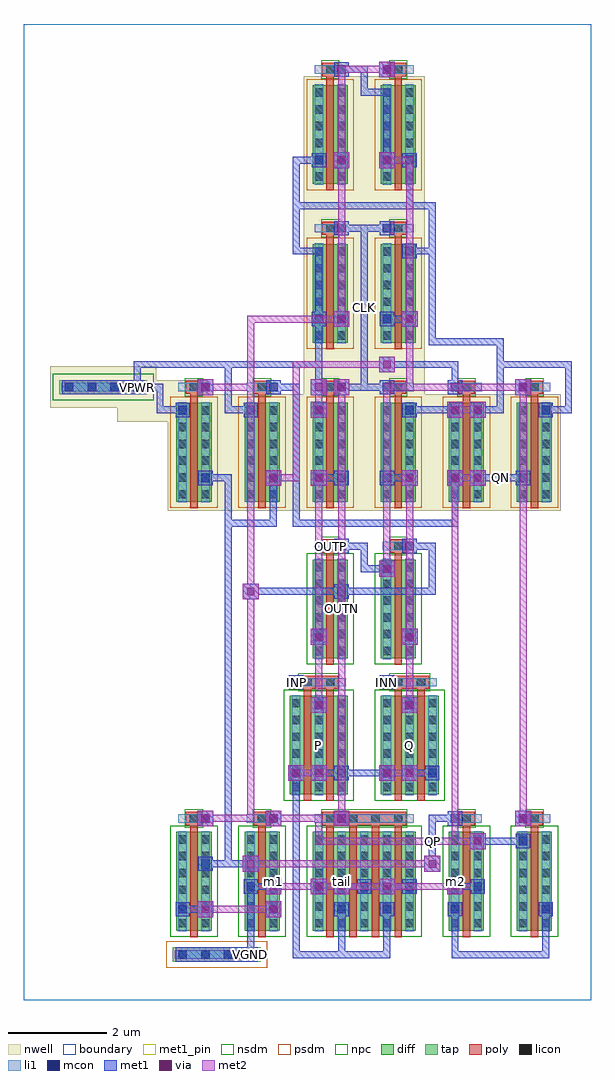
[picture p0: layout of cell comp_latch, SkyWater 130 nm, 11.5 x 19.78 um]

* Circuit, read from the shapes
.subckt comp_latch CLK INN INP OUTN OUTP P Q QN QP VGND VPWR m1 m2 tail
XM1 QP OUTN m1 VGND sky130_fd_pr__nfet_01v8 w=2 l=0.15
XM2 m1 QN VGND VGND sky130_fd_pr__nfet_01v8 w=2 l=0.15
XM3 P INP tail VGND sky130_fd_pr__nfet_01v8 w=2 l=0.15 m=2
XM4 tail CLK VGND VGND sky130_fd_pr__nfet_01v8 w=2 l=0.15 m=4
XM5 OUTN OUTP P VGND sky130_fd_pr__nfet_01v8 w=2 l=0.15
XM6 Q INN tail VGND sky130_fd_pr__nfet_01v8 w=2 l=0.15 m=2
XM7 Q OUTN OUTP VGND sky130_fd_pr__nfet_01v8 w=2 l=0.15
XM8 VGND QP m2 VGND sky130_fd_pr__nfet_01v8 w=2 l=0.15
XM9 m2 OUTP QN VGND sky130_fd_pr__nfet_01v8 w=2 l=0.15
XM10 QP OUTN VPWR VPWR sky130_fd_pr__pfet_01v8 w=2 l=0.15
XM11 QP QN VPWR VPWR sky130_fd_pr__pfet_01v8 w=2 l=0.15
XM12 P CLK VPWR VPWR sky130_fd_pr__pfet_01v8 w=2 l=0.15
XM13 OUTN CLK VPWR VPWR sky130_fd_pr__pfet_01v8 w=2 l=0.15
XM14 OUTN OUTP VPWR VPWR sky130_fd_pr__pfet_01v8 w=2 l=0.15
XM15 VPWR CLK Q VPWR sky130_fd_pr__pfet_01v8 w=2 l=0.15
XM16 VPWR CLK OUTP VPWR sky130_fd_pr__pfet_01v8 w=2 l=0.15
XM17 VPWR OUTN OUTP VPWR sky130_fd_pr__pfet_01v8 w=2 l=0.15
XM18 VPWR QP QN VPWR sky130_fd_pr__pfet_01v8 w=2 l=0.15
XM19 VPWR OUTP QN VPWR sky130_fd_pr__pfet_01v8 w=2 l=0.15
.ends

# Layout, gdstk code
import gdstk
lib = gdstk.Library(unit=1e-6, precision=1e-09)
def R(c, l, rs):  # rectangles x0, y0, x1, y1
    for r in rs: c.add(gdstk.rectangle(r[:2], r[2:], *l))
def A(c, l, x, y, w, h, nx, ny, dx, dy):  # array of equal rectangles
    R(c, l, [(x+i*dx, y+j*dy, x+i*dx+w, y+j*dy+h) for i in range(nx) for j in range(ny)])
nwell = (64, 20)
diff = (65, 20)
tap = (65, 44)
poly = (66, 20)
licon = (66, 44)
li1 = (67, 20)
mcon = (67, 44)
met1_pin = (68, 16)
met1 = (68, 20)
via = (68, 44)
met2 = (69, 20)
nsdm = (93, 44)
psdm = (94, 20)
npc = (95, 20)
boundary = (235, 4)

comp_latch = lib.new_cell('comp_latch')
R(comp_latch, nwell, [(2.915,9.92,10.885,11.72), (1.893,11.72,10.885,12), (0.535,12,10.885,12.28), (0.535,12.28,3.707,12.56), (5.675,12.28,8.125,18.72), (0.535,12.56,2.685,12.84)])
A(comp_latch, diff, 3.095, 10.1, 0.71, 2, 6, 1, 1.38, 0)
R(comp_latch, diff, [(3.095,1.405,3.805,3.405), (4.475,1.405,5.185,3.405), (5.855,1.405,7.945,3.405), (8.615,1.405,9.325,3.405), (9.995,1.405,10.705,3.405), (5.395,4.165,6.565,6.165), (7.235,4.165,8.405,6.165), (5.855,6.925,6.565,8.925), (7.235,6.925,7.945,8.925), (5.855,13.32,6.565,15.32), (7.235,13.32,7.945,15.32), (5.855,16.54,6.565,18.54), (7.235,16.54,7.945,18.54)])
R(comp_latch, tap, [(3.015,0.775,4.805,1.065), (0.715,12.275,2.505,12.565)])
A(comp_latch, poly, 3.375, 1.275, 0.15, 2.405, 3, 1, 1.38, 0)
A(comp_latch, poly, 6.595, 1.275, 0.15, 2.405, 3, 1, 0.46, 0)
A(comp_latch, poly, 3.375, 9.97, 0.15, 2.45, 6, 1, 1.38, 0)
A(comp_latch, poly, 3.285, 12.285, 0.33, 0.27, 6, 1, 1.38, 0)
R(comp_latch, poly, [(8.895,1.275,9.045,3.68), (10.275,1.275,10.425,3.68), (3.285,3.545,3.615,3.815), (4.665,3.545,4.995,3.815), (6.045,3.545,7.755,3.815), (8.805,3.545,9.135,3.815), (10.185,3.545,10.515,3.815), (5.675,4.035,5.825,6.44), (6.135,4.035,6.285,6.44), (7.515,4.035,7.665,6.44), (7.975,4.035,8.125,6.44), (5.585,6.305,6.375,6.575), (7.425,6.305,8.215,6.575), (6.135,6.795,6.285,9.2), (7.515,6.795,7.665,9.2), (6.045,9.065,6.375,9.335), (7.425,9.065,7.755,9.335), (6.135,13.19,6.285,15.64), (7.515,13.19,7.665,15.64), (6.045,15.505,6.375,15.775), (7.425,15.505,7.755,15.775), (6.135,16.41,6.285,18.86), (7.515,16.41,7.665,18.86), (6.045,18.725,6.375,18.995), (7.425,18.725,7.755,18.995)])
A(comp_latch, licon, 3.135, 0.835, 0.17, 0.17, 4, 1, 0.46, 0)
A(comp_latch, licon, 3.135, 1.47, 0.17, 0.17, 1, 6, 0, 0.34)
A(comp_latch, licon, 3.595, 1.47, 0.17, 0.17, 1, 6, 0, 0.34)
A(comp_latch, licon, 4.515, 1.47, 0.17, 0.17, 1, 6, 0, 0.34)
A(comp_latch, licon, 4.975, 1.47, 0.17, 0.17, 1, 6, 0, 0.34)
A(comp_latch, licon, 5.895, 1.47, 0.17, 0.17, 5, 6, 0.46, 0.34)
A(comp_latch, licon, 8.655, 1.47, 0.17, 0.17, 1, 6, 0, 0.34)
A(comp_latch, licon, 9.115, 1.47, 0.17, 0.17, 1, 6, 0, 0.34)
A(comp_latch, licon, 10.035, 1.47, 0.17, 0.17, 1, 6, 0, 0.34)
A(comp_latch, licon, 10.495, 1.47, 0.17, 0.17, 1, 6, 0, 0.34)
A(comp_latch, licon, 3.365, 3.595, 0.17, 0.17, 3, 1, 1.38, 0)
A(comp_latch, licon, 6.585, 3.595, 0.17, 0.17, 3, 1, 0.46, 0)
A(comp_latch, licon, 5.435, 4.23, 0.17, 0.17, 3, 6, 0.46, 0.34)
A(comp_latch, licon, 7.275, 4.23, 0.17, 0.17, 3, 6, 0.46, 0.34)
A(comp_latch, licon, 5.895, 6.99, 0.17, 0.17, 1, 6, 0, 0.34)
A(comp_latch, licon, 6.355, 6.99, 0.17, 0.17, 1, 6, 0, 0.34)
A(comp_latch, licon, 7.275, 6.99, 0.17, 0.17, 1, 6, 0, 0.34)
A(comp_latch, licon, 7.735, 6.99, 0.17, 0.17, 1, 6, 0, 0.34)
A(comp_latch, licon, 3.135, 10.165, 0.17, 0.17, 1, 6, 0, 0.34)
A(comp_latch, licon, 3.595, 10.165, 0.17, 0.17, 1, 6, 0, 0.34)
A(comp_latch, licon, 4.515, 10.165, 0.17, 0.17, 1, 6, 0, 0.34)
A(comp_latch, licon, 4.975, 10.165, 0.17, 0.17, 1, 6, 0, 0.34)
A(comp_latch, licon, 5.895, 10.165, 0.17, 0.17, 1, 6, 0, 0.34)
A(comp_latch, licon, 6.355, 10.165, 0.17, 0.17, 1, 6, 0, 0.34)
A(comp_latch, licon, 7.275, 10.165, 0.17, 0.17, 1, 6, 0, 0.34)
A(comp_latch, licon, 7.735, 10.165, 0.17, 0.17, 1, 6, 0, 0.34)
A(comp_latch, licon, 8.655, 10.165, 0.17, 0.17, 1, 6, 0, 0.34)
A(comp_latch, licon, 9.115, 10.165, 0.17, 0.17, 1, 6, 0, 0.34)
A(comp_latch, licon, 10.035, 10.165, 0.17, 0.17, 1, 6, 0, 0.34)
A(comp_latch, licon, 10.495, 10.165, 0.17, 0.17, 1, 6, 0, 0.34)
A(comp_latch, licon, 0.835, 12.335, 0.17, 0.17, 4, 1, 0.46, 0)
A(comp_latch, licon, 3.365, 12.335, 0.17, 0.17, 6, 1, 1.38, 0)
A(comp_latch, licon, 5.895, 13.385, 0.17, 0.17, 1, 6, 0, 0.34)
A(comp_latch, licon, 6.355, 13.385, 0.17, 0.17, 1, 6, 0, 0.34)
A(comp_latch, licon, 7.275, 13.385, 0.17, 0.17, 1, 6, 0, 0.34)
A(comp_latch, licon, 7.735, 13.385, 0.17, 0.17, 1, 6, 0, 0.34)
A(comp_latch, licon, 5.895, 16.605, 0.17, 0.17, 1, 6, 0, 0.34)
A(comp_latch, licon, 6.355, 16.605, 0.17, 0.17, 1, 6, 0, 0.34)
A(comp_latch, licon, 7.275, 16.605, 0.17, 0.17, 1, 6, 0, 0.34)
A(comp_latch, licon, 7.735, 16.605, 0.17, 0.17, 1, 6, 0, 0.34)
R(comp_latch, licon, [(8.885,3.595,9.055,3.765), (10.265,3.595,10.435,3.765), (5.665,6.355,5.835,6.525), (6.125,6.355,6.295,6.525), (7.505,6.355,7.675,6.525), (7.965,6.355,8.135,6.525), (6.125,9.115,6.295,9.285), (7.505,9.115,7.675,9.285), (6.125,15.555,6.295,15.725), (7.505,15.555,7.675,15.725), (6.125,18.775,6.295,18.945), (7.505,18.775,7.675,18.945)])
A(comp_latch, li1, 5.895, 1.39, 0.17, 2.03, 5, 1, 0.46, 0)
A(comp_latch, li1, 5.435, 4.15, 0.17, 2.03, 3, 1, 0.46, 0)
A(comp_latch, li1, 7.275, 4.15, 0.17, 2.03, 3, 1, 0.46, 0)
A(comp_latch, li1, 5.895, 10.085, 0.17, 2.03, 1, 3, 0, 3.22)
A(comp_latch, li1, 6.355, 10.085, 0.17, 2.03, 1, 3, 0, 3.22)
A(comp_latch, li1, 7.275, 10.085, 0.17, 2.03, 1, 3, 0, 3.22)
A(comp_latch, li1, 7.735, 10.085, 0.17, 2.03, 1, 3, 0, 3.22)
A(comp_latch, li1, 3.135, 12.335, 0.63, 0.17, 6, 1, 1.38, 0)
R(comp_latch, li1, [(3.055,0.835,4.765,1.005), (3.135,1.39,3.305,3.42), (3.595,1.39,3.765,3.42), (4.515,1.39,4.685,3.42), (4.975,1.39,5.145,3.42), (8.655,1.39,8.825,3.42), (9.115,1.39,9.285,3.42), (10.035,1.39,10.205,3.42), (10.495,1.39,10.665,3.42), (3.135,3.595,3.765,3.765), (4.515,3.595,5.145,3.765), (5.895,3.595,7.905,3.765), (8.655,3.595,9.285,3.765), (10.035,3.595,10.665,3.765), (5.435,6.355,6.525,6.525), (7.275,6.355,8.365,6.525), (5.895,6.91,6.065,8.94), (6.355,6.91,6.525,8.94), (7.275,6.91,7.445,8.94), (7.735,6.91,7.905,8.94), (5.895,9.115,6.525,9.285), (7.275,9.115,7.905,9.285), (3.135,10.085,3.305,12.115), (3.595,10.085,3.765,12.115), (4.515,10.085,4.685,12.115), (4.975,10.085,5.145,12.115), (8.655,10.085,8.825,12.115), (9.115,10.085,9.285,12.115), (10.035,10.085,10.205,12.115), (10.495,10.085,10.665,12.115), (0.755,12.335,2.465,12.505), (5.895,15.555,6.525,15.725), (7.275,15.555,7.905,15.725), (5.895,18.775,6.525,18.945), (7.275,18.775,7.905,18.945)])
A(comp_latch, mcon, 3.135, 0.835, 0.17, 0.17, 4, 1, 0.46, 0)
A(comp_latch, mcon, 5.895, 2.215, 0.17, 0.17, 3, 1, 0.92, 0)
A(comp_latch, mcon, 3.595, 3.595, 0.17, 0.17, 3, 2, 1.38, 6.9)
A(comp_latch, mcon, 5.435, 4.515, 0.17, 0.17, 4, 1, 0.92, 0)
A(comp_latch, mcon, 7.275, 10.495, 0.17, 0.17, 3, 2, 1.38, 1.84)
A(comp_latch, mcon, 3.135, 11.875, 0.17, 0.17, 3, 1, 1.38, 0)
A(comp_latch, mcon, 7.735, 11.875, 0.17, 0.17, 3, 1, 1.38, 0)
A(comp_latch, mcon, 0.835, 12.335, 0.17, 0.17, 4, 1, 0.46, 0)
A(comp_latch, mcon, 3.595, 12.335, 0.17, 0.17, 3, 1, 1.38, 0)
R(comp_latch, mcon, [(3.135,1.755,3.305,1.925), (4.975,1.755,5.145,1.925), (6.355,1.755,6.525,1.925), (7.275,1.755,7.445,1.925), (8.655,1.755,8.825,1.925), (10.495,1.755,10.665,1.925), (4.515,2.215,4.685,2.385), (9.115,2.215,9.285,2.385), (3.595,2.675,3.765,2.845), (10.035,3.135,10.205,3.305), (8.655,3.595,8.825,3.765), (10.035,3.595,10.205,3.765), (5.895,5.895,6.065,6.065), (7.735,5.895,7.905,6.065), (5.435,6.355,5.605,6.525), (7.275,6.355,7.445,6.525), (5.895,7.275,6.065,7.445), (7.735,7.275,7.905,7.445), (6.355,8.195,6.525,8.365), (7.275,8.655,7.445,8.825), (6.355,9.115,6.525,9.285), (7.735,9.115,7.905,9.285), (5.895,13.715,6.065,13.885), (6.355,13.715,6.525,13.885), (7.275,13.715,7.445,13.885), (7.735,15.095,7.905,15.265), (6.355,15.555,6.525,15.725), (7.275,15.555,7.445,15.725), (5.895,16.935,6.065,17.105), (6.355,16.935,6.525,17.105), (7.275,16.935,7.445,17.105), (7.735,16.935,7.905,17.105), (6.355,18.775,6.525,18.945), (7.275,18.775,7.445,18.945)])
R(comp_latch, met1_pin, [(4.53,0.85,4.67,0.99), (8.21,2.69,8.35,3.75), (5.375,6.295,5.665,6.585), (7.215,6.295,7.505,6.585), (9.13,10.51,10.19,10.65), (2.23,12.35,2.37,12.49), (6.83,12.35,6.97,15.71)])
A(comp_latch, met1, 5.835, 2.155, 0.29, 0.29, 3, 1, 0.92, 0)
A(comp_latch, met1, 3.52, 3.52, 0.32, 0.32, 3, 1, 1.38, 0)
A(comp_latch, met1, 3.535, 3.535, 0.29, 0.29, 3, 2, 1.38, 6.9)
A(comp_latch, met1, 5.82, 4.44, 0.32, 0.32, 1, 3, 0, 1.38)
A(comp_latch, met1, 7.2, 4.44, 0.32, 0.32, 1, 4, 0, 4.14)
A(comp_latch, met1, 7.66, 4.44, 0.32, 0.32, 1, 3, 0, 1.38)
A(comp_latch, met1, 5.375, 4.455, 0.29, 0.29, 4, 1, 0.92, 0)
A(comp_latch, met1, 7.215, 10.435, 0.29, 0.29, 3, 2, 1.38, 1.84)
A(comp_latch, met1, 3.075, 11.815, 0.29, 0.29, 3, 1, 1.38, 0)
A(comp_latch, met1, 7.675, 11.815, 0.29, 0.29, 3, 1, 1.38, 0)
A(comp_latch, met1, 3.535, 12.275, 0.29, 0.29, 3, 1, 1.38, 0)
R(comp_latch, met1, [(3.075,0.775,4.745,1.065), (4.53,0.85,4.67,2.37), (4.53,0.85,4.67,0.99), (5.45,0.85,6.51,0.99), (5.45,0.85,5.59,4.67), (6.37,0.85,7.43,0.99), (6.37,0.85,6.51,1.91), (7.29,0.85,7.43,1.91), (8.67,0.85,8.81,1.91), (8.67,0.85,10.65,0.99), (10.51,0.85,10.65,1.91), (3.52,1.68,3.84,2), (4.9,1.68,5.22,2), (3.075,1.695,3.365,1.985), (4.915,1.695,5.205,1.985), (6.295,1.695,6.585,1.985), (7.215,1.695,7.505,1.985), (8.595,1.695,8.885,1.985), (10.435,1.695,10.725,1.985), (3.15,1.77,3.75,1.91), (4.9,2.14,5.22,2.46), (5.82,2.14,6.14,2.46), (6.28,2.14,6.6,2.46), (7.2,2.14,7.52,2.46), (8.58,2.14,8.9,2.46), (4.455,2.155,4.745,2.445), (9.055,2.155,9.345,2.445), (4.53,2.23,5.13,2.37), (6.37,2.23,6.97,2.37), (7.29,2.23,7.89,2.37), (8.67,2.23,9.27,2.37), (4.44,2.6,4.76,2.92), (8.12,2.6,8.44,2.92), (3.535,2.615,3.825,2.905), (3.61,2.69,4.67,2.83), (4.07,2.69,4.21,10.65), (8.21,2.69,8.35,3.75), (9.04,3.06,9.36,3.38), (9.975,3.075,10.265,3.365), (9.13,3.15,10.19,3.29), (9.96,3.52,10.28,3.84), (8.595,3.535,8.885,3.825), (9.975,3.535,10.265,3.825), (8.21,3.61,8.81,3.75), (5.36,4.44,5.68,4.76), (5.91,4.53,6.51,4.67), (6.37,4.53,7.43,4.67), (7.75,4.53,8.35,4.67), (5.835,5.835,6.125,6.125), (7.675,5.835,7.965,6.125), (5.375,6.295,5.665,6.585), (7.215,6.295,7.505,6.585), (5.835,7.215,6.125,7.505), (7.675,7.215,7.965,7.505), (4.44,8.12,4.76,8.44), (6.295,8.135,6.585,8.425), (4.53,8.21,6.51,8.35), (6.37,8.21,8.35,8.35), (8.21,8.21,8.35,9.27), (7.215,8.595,7.505,8.885), (6.83,8.67,7.43,8.81), (6.83,8.67,6.97,9.27), (6.295,9.055,6.585,9.345), (7.675,9.055,7.965,9.345), (6.37,9.13,6.97,9.27), (7.75,9.13,8.35,9.27), (4.07,9.59,5.13,9.73), (4.99,9.59,5.13,10.65), (5.45,9.59,8.81,9.73), (5.45,9.59,5.59,12.49), (8.67,9.59,8.81,10.65), (4.9,10.42,5.22,10.74), (5.82,10.42,6.14,10.74), (7.66,10.42,7.98,10.74), (8.58,10.42,8.9,10.74), (9.04,10.42,9.36,10.74), (3.61,10.51,4.21,10.65), (5.91,10.51,6.51,10.65), (7.29,10.51,7.89,10.65), (9.13,10.51,10.19,10.65), (5.82,11.8,6.14,12.12), (8.58,11.8,8.9,12.12), (9.04,11.8,9.36,12.12), (2.69,11.89,3.29,12.03), (2.69,11.89,2.83,12.49), (4.07,11.89,4.67,12.03), (4.07,11.89,4.21,12.95), (7.75,11.89,8.81,12.03), (9.13,11.89,9.73,12.03), (9.59,11.89,9.73,13.41), (10.51,11.89,11.11,12.03), (10.97,11.89,11.11,12.95), (3.52,12.26,3.84,12.58), (5.82,12.26,6.14,12.58), (6.28,12.26,6.6,12.58), (9.96,12.26,10.28,12.58), (0.775,12.275,2.445,12.565), (2.23,12.35,2.83,12.49), (2.23,12.35,2.37,12.95), (2.23,12.35,2.37,12.49), (4.99,12.35,5.59,12.49), (5.91,12.35,6.05,13.87), (6.37,12.35,7.43,12.49), (6.83,12.35,6.97,15.71), (8.67,12.35,8.81,12.95), (2.23,12.81,4.21,12.95), (4.07,12.81,6.05,12.95), (7.29,12.81,8.81,12.95), (9.59,12.81,11.11,12.95), (8.21,13.27,9.73,13.41), (8.21,13.27,8.35,15.25), (6.28,13.64,6.6,13.96), (7.66,13.64,7.98,13.96), (5.835,13.655,6.125,13.945), (6.295,13.655,6.585,13.945), (7.215,13.655,7.505,13.945), (5.91,13.73,6.05,15.25), (7.29,13.73,7.89,13.87), (7.675,15.035,7.965,15.325), (5.45,15.11,6.05,15.25), (5.45,15.11,5.59,17.09), (7.75,15.11,8.35,15.25), (8.21,15.11,8.35,16.17), (6.295,15.495,6.585,15.785), (7.215,15.495,7.505,15.785), (6.37,15.57,6.97,15.71), (6.83,15.57,7.43,15.71), (5.45,16.03,7.89,16.17), (7.75,16.03,8.35,16.17), (7.75,16.03,7.89,17.09), (6.28,16.86,6.6,17.18), (5.835,16.875,6.125,17.165), (6.295,16.875,6.585,17.165), (7.215,16.875,7.505,17.165), (7.675,16.875,7.965,17.165), (5.45,16.95,6.05,17.09), (7.29,16.95,7.43,18.47), (6.83,18.33,7.43,18.47), (6.83,18.33,6.97,18.93), (7.2,18.7,7.52,19.02), (6.295,18.715,6.585,19.005), (7.215,18.715,7.505,19.005), (6.37,18.79,6.97,18.93)])
A(comp_latch, via, 3.605, 3.605, 0.15, 0.15, 3, 1, 1.38, 0)
A(comp_latch, via, 5.905, 4.525, 0.15, 0.15, 1, 3, 0, 1.38)
A(comp_latch, via, 7.285, 4.525, 0.15, 0.15, 1, 4, 0, 4.14)
A(comp_latch, via, 7.745, 4.525, 0.15, 0.15, 1, 3, 0, 1.38)
R(comp_latch, via, [(3.605,1.765,3.755,1.915), (4.985,1.765,5.135,1.915), (4.985,2.225,5.135,2.375), (5.905,2.225,6.055,2.375), (6.365,2.225,6.515,2.375), (7.285,2.225,7.435,2.375), (8.665,2.225,8.815,2.375), (4.525,2.685,4.675,2.835), (8.205,2.685,8.355,2.835), (9.125,3.145,9.275,3.295), (10.045,3.605,10.195,3.755), (5.445,4.525,5.595,4.675), (4.525,8.205,4.675,8.355), (4.985,10.505,5.135,10.655), (5.905,10.505,6.055,10.655), (7.745,10.505,7.895,10.655), (8.665,10.505,8.815,10.655), (9.125,10.505,9.275,10.655), (5.905,11.885,6.055,12.035), (8.665,11.885,8.815,12.035), (9.125,11.885,9.275,12.035), (3.605,12.345,3.755,12.495), (5.905,12.345,6.055,12.495), (6.365,12.345,6.515,12.495), (10.045,12.345,10.195,12.495), (6.365,13.725,6.515,13.875), (7.745,13.725,7.895,13.875), (6.365,16.945,6.515,17.095), (7.285,18.785,7.435,18.935)])
A(comp_latch, met2, 3.52, 3.52, 0.32, 0.32, 3, 1, 1.38, 0)
A(comp_latch, met2, 5.82, 4.44, 0.32, 0.32, 1, 3, 0, 1.38)
A(comp_latch, met2, 7.2, 4.44, 0.32, 0.32, 1, 4, 0, 4.14)
A(comp_latch, met2, 7.66, 4.44, 0.32, 0.32, 1, 3, 0, 1.38)
R(comp_latch, met2, [(3.52,1.68,3.84,2), (4.9,1.68,5.22,2), (3.61,1.77,5.13,1.91), (4.9,2.14,5.22,2.46), (5.82,2.14,6.14,2.46), (6.28,2.14,6.6,2.46), (7.2,2.14,7.52,2.46), (8.58,2.14,8.9,2.46), (4.99,2.23,6.05,2.37), (5.91,2.23,6.51,2.37), (6.37,2.23,7.43,2.37), (7.29,2.23,8.81,2.37), (4.44,2.6,4.76,2.92), (8.12,2.6,8.44,2.92), (4.53,2.69,8.35,2.83), (9.04,3.06,9.36,3.38), (5.91,3.15,6.05,3.75), (5.91,3.15,9.27,3.29), (8.67,3.15,8.81,10.65), (9.96,3.52,10.28,3.84), (3.61,3.61,4.67,3.75), (4.53,3.61,4.67,8.35), (4.99,3.61,6.05,3.75), (6.37,3.61,6.51,12.49), (10.05,3.61,10.19,12.49), (5.36,4.44,5.68,4.76), (5.45,4.53,6.05,4.67), (7.29,4.53,7.89,4.67), (5.91,5.91,6.05,7.43), (7.75,5.91,7.89,7.43), (5.91,7.29,6.05,10.65), (7.75,7.29,7.89,10.65), (4.44,8.12,4.76,8.44), (4.53,8.21,4.67,12.49), (7.29,8.67,7.43,12.49), (4.9,10.42,5.22,10.74), (5.82,10.42,6.14,10.74), (7.66,10.42,7.98,10.74), (8.58,10.42,8.9,10.74), (9.04,10.42,9.36,10.74), (4.99,10.51,5.59,10.65), (5.45,10.51,5.59,12.95), (8.67,10.51,9.27,10.65), (5.82,11.8,6.14,12.12), (8.58,11.8,8.9,12.12), (9.04,11.8,9.36,12.12), (5.91,11.89,6.05,12.49), (8.67,11.89,9.27,12.03), (3.52,12.26,3.84,12.58), (5.82,12.26,6.14,12.58), (6.28,12.26,6.6,12.58), (9.96,12.26,10.28,12.58), (3.61,12.35,4.67,12.49), (4.53,12.35,4.67,13.87), (7.29,12.35,7.89,12.49), (7.75,12.35,7.89,13.87), (7.75,12.35,10.19,12.49), (5.45,12.81,7.43,12.95), (6.28,13.64,6.6,13.96), (7.66,13.64,7.98,13.96), (4.53,13.73,6.51,13.87), (6.37,13.73,6.51,17.09), (7.75,13.73,7.89,17.09), (6.28,16.86,6.6,17.18), (6.37,16.95,6.51,18.93), (7.29,16.95,7.89,17.09), (7.2,18.7,7.52,19.02), (6.37,18.79,7.43,18.93)])
R(comp_latch, nsdm, [(2.97,1.28,3.93,3.53), (4.35,1.28,5.31,3.53), (5.73,1.28,8.07,3.53), (8.49,1.28,9.45,3.53), (9.87,1.28,10.83,3.53), (5.27,4.04,6.69,6.29), (7.11,4.04,8.53,6.29), (5.73,6.8,6.69,9.05), (7.11,6.8,8.07,9.05), (0.59,12.15,2.63,12.69)])
A(comp_latch, psdm, 2.97, 9.975, 0.96, 2.25, 6, 1, 1.38, 0)
R(comp_latch, psdm, [(2.89,0.65,4.93,1.19), (5.73,13.195,6.69,15.445), (7.11,13.195,8.07,15.445), (5.73,16.415,6.69,18.665), (7.11,16.415,8.07,18.665)])
A(comp_latch, npc, 3.265, 12.235, 0.37, 0.37, 6, 1, 1.38, 0)
R(comp_latch, npc, [(3.265,3.495,3.635,3.865), (4.645,3.495,5.015,3.865), (6.025,3.495,7.775,3.865), (8.785,3.495,9.155,3.865), (10.165,3.495,10.535,3.865), (5.565,6.255,6.395,6.625), (7.405,6.255,8.235,6.625), (6.025,9.015,6.395,9.385), (7.405,9.015,7.775,9.385), (6.025,15.455,6.395,15.825), (7.405,15.455,7.775,15.825), (6.025,18.675,6.395,19.045), (7.405,18.675,7.775,19.045)])
R(comp_latch, boundary, [(0,0,11.5,19.78)])
comp_latch.add(gdstk.Label('tail', (6.44,2.405), layer=67, texttype=5))
comp_latch.add(gdstk.Label('P', (5.98,5.165), layer=67, texttype=5))
comp_latch.add(gdstk.Label('Q', (7.82,5.165), layer=67, texttype=5))
comp_latch.add(gdstk.Label('OUTP', (6.21,9.2), layer=67, texttype=5))
comp_latch.add(gdstk.Label('OUTN', (6.44,7.925), layer=67, texttype=5))
comp_latch.add(gdstk.Label('m1', (5.06,2.405), layer=67, texttype=5))
comp_latch.add(gdstk.Label('m2', (8.74,2.405), layer=67, texttype=5))
comp_latch.add(gdstk.Label('CLK', (6.9,14.03), layer=68, texttype=5))
comp_latch.add(gdstk.Label('INP', (5.52,6.44), layer=68, texttype=5))
comp_latch.add(gdstk.Label('INN', (7.36,6.44), layer=68, texttype=5))
comp_latch.add(gdstk.Label('QP', (8.28,3.22), layer=68, texttype=5))
comp_latch.add(gdstk.Label('QN', (9.66,10.58), layer=68, texttype=5))
comp_latch.add(gdstk.Label('VPWR', (2.3,12.42), layer=68, texttype=5))
comp_latch.add(gdstk.Label('VGND', (4.6,0.92), layer=68, texttype=5))
comp_latch.add(gdstk.Label('CLK', (6.9,14.03), layer=68, texttype=16))
comp_latch.add(gdstk.Label('INP', (5.52,6.44), layer=68, texttype=16))
comp_latch.add(gdstk.Label('INN', (7.36,6.44), layer=68, texttype=16))
comp_latch.add(gdstk.Label('QP', (8.28,3.22), layer=68, texttype=16))
comp_latch.add(gdstk.Label('QN', (9.66,10.58), layer=68, texttype=16))
comp_latch.add(gdstk.Label('VPWR', (2.3,12.42), layer=68, texttype=16))
comp_latch.add(gdstk.Label('VGND', (4.6,0.92), layer=68, texttype=16))

lib.write_gds('comp_latch.gds')
